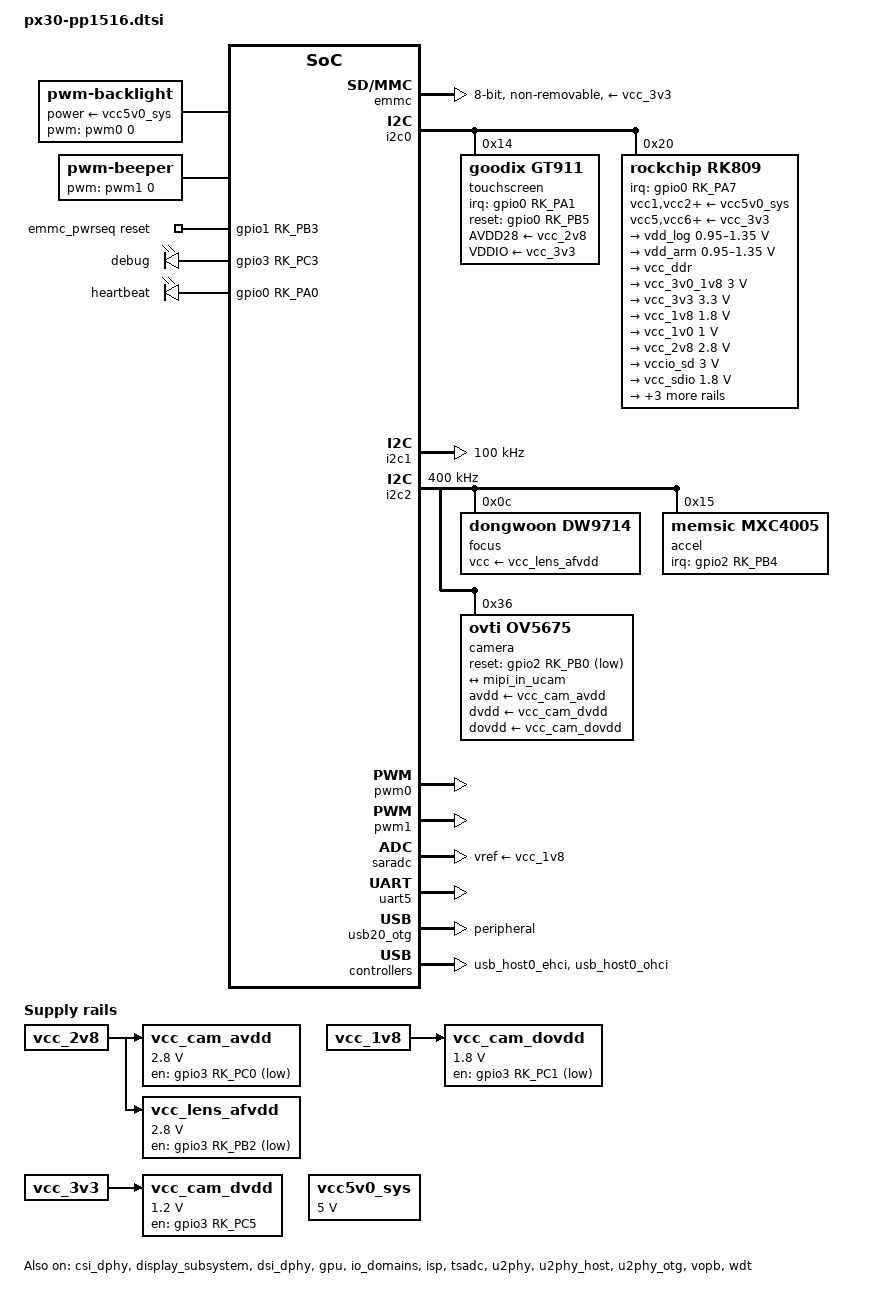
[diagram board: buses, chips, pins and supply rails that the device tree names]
// SPDX-License-Identifier: (GPL-2.0+ OR MIT)
/*
 * Copyright (c) 2025 Cherry Embedded Solutions GmbH
 */

/dts-v1/;
#include <dt-bindings/gpio/gpio.h>
#include <dt-bindings/input/input.h>
#include <dt-bindings/pinctrl/rockchip.h>
#include "px30.dtsi"

/ {
	aliases {
		mmc0 = &emmc;
	};

	chosen {
		stdout-path = "serial5:115200n8";
	};

	backlight: backlight {
		compatible = "pwm-backlight";
		power-supply = <&vcc5v0_sys>;
		pwms = <&pwm0 0 25000 0>;
	};

	beeper {
		compatible = "pwm-beeper";
		pwms = <&pwm1 0 1000 0>;
	};

	emmc_pwrseq: emmc-pwrseq {
		compatible = "mmc-pwrseq-emmc";
		pinctrl-0 = <&emmc_reset>;
		pinctrl-names = "default";
		reset-gpios = <&gpio1 RK_PB3 GPIO_ACTIVE_HIGH>;
	};

	gpio-leds {
		compatible = "gpio-leds";
		pinctrl-names = "default";
		pinctrl-0 = <&debug_led_pin>, <&heartbeat_led_pin>;

		/*
		 * LED2 on the PCB, left of the USB-C connector.
		 * Typically NOT populated.
		 */
		debug: led-0 {
			label = "debug";
			gpios = <&gpio3 RK_PC3 GPIO_ACTIVE_HIGH>;
			linux,default-trigger = "none";
		};

		/*
		 * LED14 on the PCB, left of the PX30 SoC.
		 * Typically NOT populated.
		 */
		heartbeat: led-1 {
			label = "heartbeat";
			gpios = <&gpio0 RK_PA0 GPIO_ACTIVE_HIGH>;
			linux,default-trigger = "heartbeat";
		};
	};

	vcc5v0_sys: regulator-vccsys {
		compatible = "regulator-fixed";
		regulator-name = "vcc5v0_sys";
		regulator-always-on;
		regulator-boot-on;
		regulator-min-microvolt = <5000000>;
		regulator-max-microvolt = <5000000>;
	};

	vcc_cam_avdd: regulator-vcc-cam-avdd {
		compatible = "regulator-fixed";
		regulator-name = "vcc_cam_avdd";
		gpio = <&gpio3 RK_PC0 GPIO_ACTIVE_LOW>;
		pinctrl-names = "default";
		pinctrl-0 = <&cam_avdd_en>;
		regulator-min-microvolt = <2800000>;
		regulator-max-microvolt = <2800000>;
		vin-supply = <&vcc_2v8>;
	};

	vcc_cam_dovdd: regulator-vcc-cam-dovdd {
		compatible = "regulator-fixed";
		regulator-name = "vcc_cam_dovdd";
		gpio = <&gpio3 RK_PC1 GPIO_ACTIVE_LOW>;
		pinctrl-names = "default";
		pinctrl-0 = <&cam_dovdd_en>;
		regulator-min-microvolt = <1800000>;
		regulator-max-microvolt = <1800000>;
		vin-supply = <&vcc_1v8>;
	};

	vcc_cam_dvdd: regulator-vcc-cam-dvdd {
		compatible = "regulator-fixed";
		regulator-name = "vcc_cam_dvdd";
		gpio = <&gpio3 RK_PC5 GPIO_ACTIVE_HIGH>;
		enable-active-high;
		pinctrl-names = "default";
		pinctrl-0 = <&cam_dvdd_en>;
		regulator-min-microvolt = <1200000>;
		regulator-max-microvolt = <1200000>;
		vin-supply = <&vcc_3v3>;
	};

	vcc_lens_afvdd: regulator-vcc-lens-afvdd {
		compatible = "regulator-fixed";
		regulator-name = "vcc_lens_afvdd";
		gpio = <&gpio3 RK_PB2 GPIO_ACTIVE_LOW>;
		pinctrl-names = "default";
		pinctrl-0 = <&cam_afvdd_en>;
		regulator-min-microvolt = <2800000>;
		regulator-max-microvolt = <2800000>;
		vin-supply = <&vcc_2v8>;
	};
};

&cpu0 {
	cpu-supply = <&vdd_arm>;
};

&cpu1 {
	cpu-supply = <&vdd_arm>;
};

&cpu2 {
	cpu-supply = <&vdd_arm>;
};

&cpu3 {
	cpu-supply = <&vdd_arm>;
};

&csi_dphy {
	status = "okay";
};

&display_subsystem {
	status = "okay";
};

&dsi_dphy {
	status = "okay";
};

&emmc {
	bus-width = <8>;
	cap-mmc-highspeed;
	/*
	 * For hs200 support, U-Boot would have to set the RK809 DCDC4
	 * rail to 1.8V from the default of 3.0V. It doesn't do that on
	 * devices out in the field, so disable hs200.
	 * mmc-hs200-1_8v;
	 */
	mmc-pwrseq = <&emmc_pwrseq>;
	non-removable;
	vmmc-supply = <&vcc_3v3>;
	vqmmc-supply = <&vcc_emmc>;
	status = "okay";
};

&gpu {
	mali-supply = <&vdd_log>;
	status = "okay";
};

/* I2C0 = PMIC, Touchscreen */
&i2c0 {
	status = "okay";

	touchscreen@14 {
		compatible = "goodix,gt911";
		reg = <0x14>;
		AVDD28-supply = <&vcc_2v8>;
		interrupt-parent = <&gpio0>;
		interrupts = <RK_PA1 IRQ_TYPE_LEVEL_LOW>;
		irq-gpios = <&gpio0 RK_PA1 GPIO_ACTIVE_HIGH>;
		pinctrl-names = "default";
		pinctrl-0 = <&tch_int &tch_rst>;
		reset-gpios = <&gpio0 RK_PB5 GPIO_ACTIVE_HIGH>;
		VDDIO-supply = <&vcc_3v3>;
	};

	rk809: pmic@20 {
		compatible = "rockchip,rk809";
		reg = <0x20>;
		#clock-cells = <0>;
		clock-output-names = "xin32k";
		interrupt-parent = <&gpio0>;
		interrupts = <RK_PA7 IRQ_TYPE_LEVEL_LOW>;
		pinctrl-names = "default";
		pinctrl-0 = <&pmic_int>;
		system-power-controller;
		wakeup-source;

		vcc1-supply = <&vcc5v0_sys>;
		vcc2-supply = <&vcc5v0_sys>;
		vcc3-supply = <&vcc5v0_sys>;
		vcc4-supply = <&vcc5v0_sys>;
		vcc5-supply = <&vcc_3v3>;
		vcc6-supply = <&vcc_3v3>;
		vcc7-supply = <&vcc_3v3>;
		vcc9-supply = <&vcc5v0_sys>;

		regulators {
			vdd_log: DCDC_REG1 {
				regulator-name = "vdd_log";
				regulator-always-on;
				regulator-boot-on;
				regulator-min-microvolt = <950000>;
				regulator-max-microvolt = <1350000>;
				regulator-ramp-delay = <6001>;

				regulator-state-mem {
					regulator-on-in-suspend;
					regulator-suspend-microvolt = <950000>;
				};
			};

			vdd_arm: DCDC_REG2 {
				regulator-name = "vdd_arm";
				regulator-always-on;
				regulator-boot-on;
				regulator-min-microvolt = <950000>;
				regulator-max-microvolt = <1350000>;
				regulator-ramp-delay = <6001>;

				regulator-state-mem {
					regulator-off-in-suspend;
					regulator-suspend-microvolt = <950000>;
				};
			};

			vcc_ddr: DCDC_REG3 {
				regulator-name = "vcc_ddr";
				regulator-always-on;
				regulator-boot-on;

				regulator-state-mem {
					regulator-on-in-suspend;
				};
			};

			vcc_3v0_1v8: vcc_emmc: DCDC_REG4 {
				regulator-name = "vcc_3v0_1v8";
				regulator-always-on;
				regulator-boot-on;
				regulator-min-microvolt = <3000000>;
				regulator-max-microvolt = <3000000>;

				regulator-state-mem {
					regulator-on-in-suspend;
					regulator-suspend-microvolt = <3000000>;
				};
			};

			vcc_3v3: DCDC_REG5 {
				regulator-name = "vcc_3v3";
				regulator-always-on;
				regulator-boot-on;
				regulator-min-microvolt = <3300000>;
				regulator-max-microvolt = <3300000>;

				regulator-state-mem {
					regulator-on-in-suspend;
					regulator-suspend-microvolt = <3300000>;
				};
			};

			vcc_1v8: LDO_REG2 {
				regulator-name = "vcc_1v8";
				regulator-always-on;
				regulator-boot-on;
				regulator-min-microvolt = <1800000>;
				regulator-max-microvolt = <1800000>;

				regulator-state-mem {
					regulator-on-in-suspend;
					regulator-suspend-microvolt = <1800000>;
				};
			};

			vcc_1v0: LDO_REG3 {
				regulator-name = "vcc_1v0";
				regulator-always-on;
				regulator-boot-on;
				regulator-min-microvolt = <1000000>;
				regulator-max-microvolt = <1000000>;

				regulator-state-mem {
					regulator-on-in-suspend;
					regulator-suspend-microvolt = <1000000>;
				};
			};

			vcc_2v8: LDO_REG4 {
				regulator-name = "vcc_2v8";
				regulator-always-on;
				regulator-boot-on;
				regulator-min-microvolt = <2800000>;
				regulator-max-microvolt = <2800000>;

				regulator-state-mem {
					regulator-off-in-suspend;
					regulator-suspend-microvolt = <2800000>;
				};
			};

			vccio_sd: LDO_REG5 {
				regulator-name = "vccio_sd";
				regulator-always-on;
				regulator-boot-on;
				regulator-min-microvolt = <3000000>;
				regulator-max-microvolt = <3000000>;

				regulator-state-mem {
					regulator-on-in-suspend;
					regulator-suspend-microvolt = <3000000>;
				};
			};

			vcc_sdio: LDO_REG6 {
				regulator-name = "vcc_sdio";
				regulator-always-on;
				regulator-boot-on;
				regulator-min-microvolt = <1800000>;
				regulator-max-microvolt = <1800000>;

				regulator-state-mem {
					regulator-on-in-suspend;
					regulator-suspend-microvolt = <1800000>;
				};
			};

			vcc_lcd: LDO_REG7 {
				regulator-name = "vcc_lcd";
				regulator-always-on;
				regulator-boot-on;
				regulator-min-microvolt = <1000000>;
				regulator-max-microvolt = <1000000>;

				regulator-state-mem {
					regulator-off-in-suspend;
					regulator-suspend-microvolt = <1000000>;
				};
			};

			vcc_1v8_lcd: LDO_REG8 {
				regulator-name = "vcc_1v8_lcd";
				regulator-always-on;
				regulator-boot-on;
				regulator-min-microvolt = <1800000>;
				regulator-max-microvolt = <1800000>;

				regulator-state-mem {
					regulator-on-in-suspend;
					regulator-suspend-microvolt = <1800000>;
				};
			};

			vcca_1v8: LDO_REG9 {
				regulator-name = "vcca_1v8";
				regulator-always-on;
				regulator-boot-on;
				regulator-min-microvolt = <1800000>;
				regulator-max-microvolt = <1800000>;

				regulator-state-mem {
					regulator-off-in-suspend;
					regulator-suspend-microvolt = <1800000>;
				};
			};
		};
	};
};

&i2c1 {
	clock-frequency = <100000>;
	status = "okay";
};

/* I2C2 = Accelerometer + Camera */
&i2c2 {
	/* MEMSIC MXC4005 accelerometer is rated for I2C Fast Mode (<=400KHz) */
	/* OmniVision OV5675 camera is rated for I2C Fast Mode (<=400KHz) */
	clock-frequency = <400000>;
	status = "okay";

	focus: focus@c {
		compatible = "dongwoon,dw9714";
		reg = <0xc>;
		vcc-supply = <&vcc_lens_afvdd>;
	};

	accel@15 {
		compatible = "memsic,mxc4005";
		reg = <0x15>;
		interrupt-parent = <&gpio2>;
		interrupts = <RK_PB4 IRQ_TYPE_LEVEL_LOW>;
		pinctrl-names = "default";
		pinctrl-0 = <&accel_int>;
	};

	camera@36 {
		compatible = "ovti,ov5675";
		reg = <0x36>;
		clocks = <&cru SCLK_CIF_OUT>;
		assigned-clocks = <&cru SCLK_CIF_OUT>;
		assigned-clock-rates = <19200000>;
		avdd-supply = <&vcc_cam_avdd>;
		dvdd-supply = <&vcc_cam_dvdd>;
		dovdd-supply = <&vcc_cam_dovdd>;
		lens-focus = <&focus>;
		orientation = <0>;
		pinctrl-names = "default";
		pinctrl-0 = <&cif_clkout_m0 &cam_pwdn>;
		reset-gpios = <&gpio2 RK_PB0 GPIO_ACTIVE_LOW>;
		rotation = <0>;

		port {
			ucam_out: endpoint {
				remote-endpoint = <&mipi_in_ucam>;
				data-lanes = <1 2>;
				link-frequencies = /bits/ 64 <450000000>;
			};
		};
	};
};

&io_domains {
	vccio1-supply = <&vcc_sdio>;
	vccio2-supply = <&vccio_sd>;
	vccio3-supply = <&vcc_1v8>;
	vccio4-supply = <&vcc_3v3>;
	vccio5-supply = <&vcc_3v3>;
	vccio6-supply = <&vcc_emmc>;
	status = "okay";
};

&isp {
	status = "okay";

	ports {
		port@0 {
			mipi_in_ucam: endpoint {
				data-lanes = <1 2>;
				remote-endpoint = <&ucam_out>;
			};
		};
	};
};

&isp_mmu {
	status = "okay";
};

&pinctrl {
	accel {
		accel_int: accel-int {
			rockchip,pins =
				<2 RK_PB4 RK_FUNC_GPIO &pcfg_pull_none>;
		};
	};

	camera {
		cam_afvdd_en: cam-afvdd-en {
			rockchip,pins =
				<3 RK_PB2 RK_FUNC_GPIO &pcfg_pull_none>;
		};

		cam_avdd_en: cam-avdd-en {
			rockchip,pins =
				<3 RK_PC0 RK_FUNC_GPIO &pcfg_pull_none>;
		};

		cam_dovdd_en: cam-dovdd-en {
			rockchip,pins =
				<3 RK_PC1 RK_FUNC_GPIO &pcfg_pull_none>;
		};

		cam_dvdd_en: cam-dvdd-en {
			rockchip,pins =
				<3 RK_PC5 RK_FUNC_GPIO &pcfg_pull_none>;
		};

		cam_pwdn: cam-pwdn {
			rockchip,pins =
				<2 RK_PB0 RK_FUNC_GPIO &pcfg_pull_none>;
		};
	};

	emmc {
		emmc_reset: emmc-reset {
			rockchip,pins =
				<1 RK_PB3 RK_FUNC_GPIO &pcfg_pull_none>;
		};
	};

	leds {
		debug_led_pin: debug-led-pin {
			rockchip,pins =
				<3 RK_PC3 RK_FUNC_GPIO &pcfg_pull_none>;
		};

		heartbeat_led_pin: heartbeat-led-pin {
			rockchip,pins =
				<0 RK_PA0 RK_FUNC_GPIO &pcfg_pull_none>;
		};
	};

	panel {
		dsp_rst: dsp-rst {
			rockchip,pins =
				<0 RK_PB2 RK_FUNC_GPIO &pcfg_pull_down>;
		};

		tch_int: tch-int {
			rockchip,pins =
				<0 RK_PA1 RK_FUNC_GPIO &pcfg_pull_none>;
		};

		tch_rst: tch-rst {
			rockchip,pins =
				<0 RK_PB5 RK_FUNC_GPIO &pcfg_pull_none>;
		};
	};

	pmic {
		pmic_int: pmic-int {
			rockchip,pins =
				<0 RK_PA7 RK_FUNC_GPIO &pcfg_pull_up>;
		};
	};
};

&pmu_io_domains {
	pmuio1-supply = <&vcc_3v3>;
	pmuio2-supply = <&vcc_3v3>;
	status = "okay";
};

&pwm0 {
	status = "okay";
};

&pwm1 {
	status = "okay";
};

&saradc {
	vref-supply = <&vcc_1v8>;
	status = "okay";
};

&tsadc {
	status = "okay";
};

&u2phy {
	status = "okay";
};

&u2phy_host {
	status = "okay";
};

&u2phy_otg {
	status = "okay";
};

&uart5 {
	pinctrl-0 = <&uart5_xfer>;
	status = "okay";
};

&usb20_otg {
	dr_mode = "peripheral";
	status = "okay";
};

&usb_host0_ehci {
	status = "okay";
};

&usb_host0_ohci {
	status = "okay";
};

&vopb {
	status = "okay";
};

&vopb_mmu {
	status = "okay";
};

&wdt {
	status = "okay";
};
